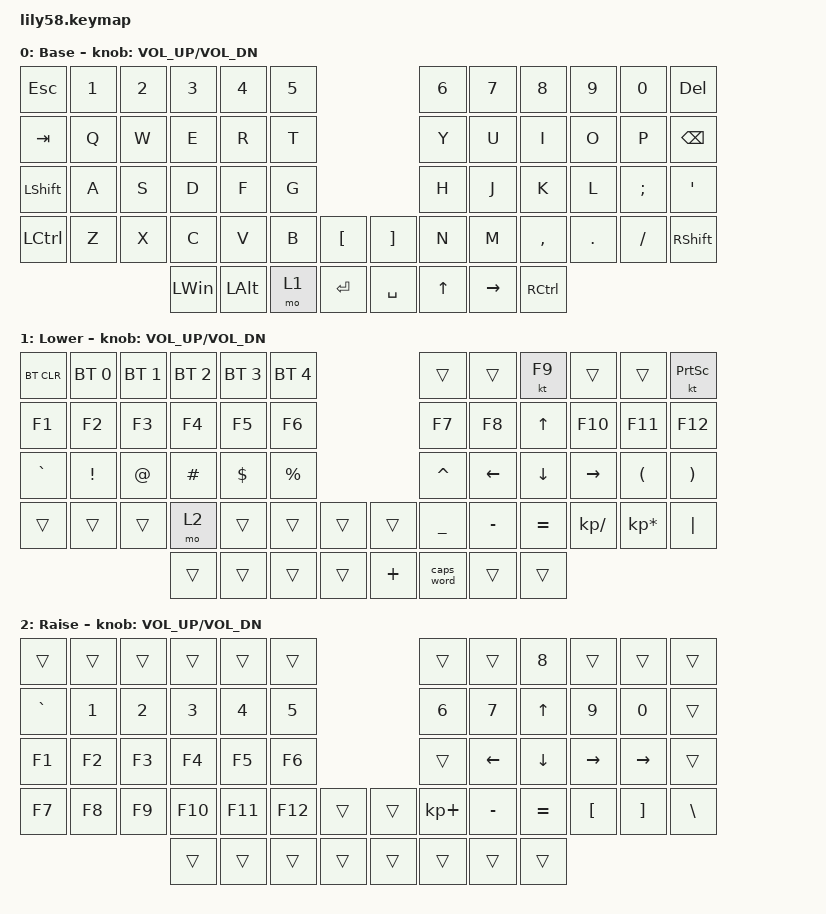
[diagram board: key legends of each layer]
/*
 * Copyright (c) 2020 The ZMK Contributors
 *
 * SPDX-License-Identifier: MIT
 */

#include <behaviors.dtsi>
#include <dt-bindings/zmk/bt.h>
#include <dt-bindings/zmk/keys.h>

/ {
    keymap {
        compatible = "zmk,keymap";

        default_layer {
            // ------------------------------------------------------------------------------------------------------------
            // |  ESC  |  1  |  2  |  3   |  4   |  5   |                   |  6   |  7    |  8    |  9   |   0   |   `   |
            // |  TAB  |  Q  |  W  |  E   |  R   |  T   |                   |  Y   |  U    |  I    |  O   |   P   |   -   |
            // |  CTRL |  A  |  S  |  D   |  F   |  G   |                   |  H   |  J    |  K    |  L   |   ;   |   '   |
            // | SHIFT |  Z  |  X  |  C   |  V   |  B   |   "["  |  |  "]"  |  N   |  M    |  ,    |  .   |   /   | SHIFT |
            //                     | ALT  | GUI  | LOWER|  SPACE |  | ENTER | RAISE| BSPC  | GUI   |

            display-name = "Base";
            bindings = <
&kp ESC           &kp N1  &kp N2  &kp N3        &kp N4        &kp N5                          &kp N6        &kp N7     &kp N8             &kp N9   &kp N0    &kp DEL
&kp TAB           &kp Q   &kp W   &kp E         &kp R         &kp T                           &kp Y         &kp U      &kp I              &kp O    &kp P     &kp BACKSPACE
&kp LEFT_SHIFT    &kp A   &kp S   &kp D         &kp F         &kp G                           &kp H         &kp J      &kp K              &kp L    &kp SEMI  &kp SQT
&kp LEFT_CONTROL  &kp Z   &kp X   &kp C         &kp V         &kp B   &kp LBKT     &kp RBKT   &kp N         &kp M      &kp COMMA          &kp DOT  &kp FSLH  &kp RIGHT_SHIFT
                                  &kp LEFT_WIN  &kp LEFT_ALT  &mo 1   &kp ENTER    &kp SPACE  &kp UP_ARROW  &kp RIGHT  &kp RIGHT_CONTROL
            >;

            sensor-bindings = <&inc_dec_kp C_VOL_UP C_VOL_DN>;
        };

        lower_layer {
            // ------------------------------------------------------------------------------------------------------------
            // | BTCLR | BT1 | BT2 |  BT3 |  BT4 |  BT5 |                   |      |       |       |      |       |       |
            // |  F1   |  F2 |  F3 |  F4  |  F5  |  F6  |                   |  F7  |  F8   |  F9   |  F10 |  F11  |  F12  |
            // |   `   |  !  |  @  |  #   |  $   |  %   |                   |  ^   |  &    |  *    |  (   |   )   |   ~   |
            // |       |     |     |      |      |      |        |  |       |      |  _    |  +    |  {   |   }   |  "|"  |
            //                     |      |      |      |        |  |       |      |       |       |

            display-name = "Lower";
            bindings = <
&bt BT_CLR  &bt BT_SEL 0  &bt BT_SEL 1  &bt BT_SEL 2  &bt BT_SEL 3  &bt BT_SEL 4                      &trans      &trans     &kt F9          &trans         &trans                &kt PRINTSCREEN
&kp F1      &kp F2        &kp F3        &kp F4        &kp F5        &kp F6                            &kp F7      &kp F8     &kp UP_ARROW    &kp F10        &kp F11               &kp F12
&kp GRAVE   &kp EXCL      &kp AT        &kp HASH      &kp DOLLAR    &kp PRCNT                         &kp CARET   &kp LEFT   &kp DOWN_ARROW  &kp RIGHT      &kp LEFT_PARENTHESIS  &kp RIGHT_PARENTHESIS
&trans      &trans        &trans        &mo 2         &trans        &trans        &trans    &trans    &kp UNDER   &kp MINUS  &kp EQUAL       &kp KP_DIVIDE  &kp KP_MULTIPLY       &kp PIPE
                                        &trans        &trans        &trans        &trans    &kp PLUS  &caps_word  &trans     &trans
            >;

            sensor-bindings = <&inc_dec_kp C_VOL_UP C_VOL_DN>;
        };

        raise_layer {
            // ------------------------------------------------------------------------------------------------------------
            // |       |     |     |      |      |      |                   |      |       |       |      |       |       |
            // |   `   |  1  |  2  |  3   |  4   |  5   |                   |  6   |   7   |   8   |  9   |   0   |       |
            // |   F1  |  F2 |  F3 |  F4  |  F5  |  F6  |                   |      |   <-  |   v   |  ^   |  ->   |       |
            // |   F7  |  F8 |  F9 |  F10 |  F11 |  F12 |        |  |       |  +   |   -   |   =   |  [   |   ]   |   \   |
            //                     |      |      |      |        |  |       |      |       |       |

            display-name = "Raise";
            bindings = <
&trans     &trans  &trans  &trans   &trans   &trans                     &trans       &trans     &kp NUMBER_8  &trans     &trans     &trans
&kp GRAVE  &kp N1  &kp N2  &kp N3   &kp N4   &kp N5                     &kp N6       &kp N7     &kp UP_ARROW  &kp N9     &kp N0     &trans
&kp F1     &kp F2  &kp F3  &kp F4   &kp F5   &kp F6                     &trans       &kp LEFT   &kp DOWN      &kp RIGHT  &kp RIGHT  &trans
&kp F7     &kp F8  &kp F9  &kp F10  &kp F11  &kp F12  &trans    &trans  &kp KP_PLUS  &kp MINUS  &kp EQUAL     &kp LBKT   &kp RBKT   &kp BSLH
                           &trans   &trans   &trans   &trans    &trans  &trans       &trans     &trans
            >;

            sensor-bindings = <&inc_dec_kp C_VOL_UP C_VOL_DN>;
        };

        extra_1 { status = "reserved"; };

        extra_2 { status = "reserved"; };

        extra_3 { status = "reserved"; };
    };
};
